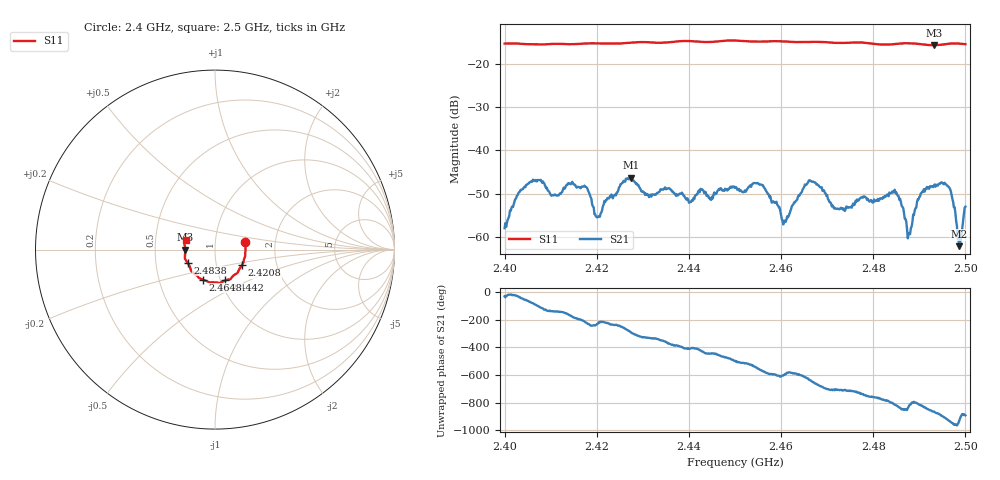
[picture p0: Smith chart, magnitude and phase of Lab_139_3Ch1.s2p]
# Hz S RI R 50
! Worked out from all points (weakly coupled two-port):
!   601 points, 2.4 GHz to 2.5 GHz, reference 50 ohm
!   highest |S21| = -46.36 dB at 2.4275 GHz (marker M1); lowest = -62.2 dB at 2.4987 GHz (marker M2)
!   lowest |S11| = -15.6 dB at 2.4932 GHz (marker M3), VSWR 1.40, Z = 35.8 - j0.0761 ohm
!   |S11| at or under -10 dB: start of sweep to end of sweep
!   S12 and S22 are empty: the file has one direction only
!   S11 on the Smith chart (normalised r, x): 2.4 GHz: 1.40, +0.12; 2.4208 GHz: 1.33, -0.24; 2.4442 GHz: 1.05, -0.37; 2.4648 GHz: 0.83, -0.29; 2.4838 GHz: 0.73, -0.11; 2.5 GHz: 0.72, +0.08
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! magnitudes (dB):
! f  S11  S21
! 2.4 GHz  -15.2  -58.0
! 2.4058 GHz  -15.4  -47.1
! 2.4167 GHz  -15.3  -48.5
! 2.4208 GHz  -15.2  -54.7
! 2.4275 GHz  -15.0  -46.4
! 2.4333 GHz  -15.0  -49.8
! 2.4442 GHz  -14.9  -50.6
! 2.45 GHz  -14.5  -48.7
! 2.4557 GHz  -14.8  -47.9
! 2.4607 GHz  -14.7  -56.3
! 2.4648 GHz  -14.9  -48.8
! 2.4667 GHz  -14.8  -47.3
! 2.472 GHz  -15.1  -53.5
! 2.4833 GHz  -15.5  -50.6
! 2.4838 GHz  -15.4  -49.9
! 2.4855 GHz  -15.2  -50.6
! 2.4878 GHz  -15.2  -59.3
! 2.4902 GHz  -15.3  -50.6
! 2.4932 GHz  -15.6  -48.2
! 2.4965 GHz  -15.3  -48.6
! 2.4987 GHz  -15.2  -62.2
! 2.5 GHz  -15.4  -53.1
